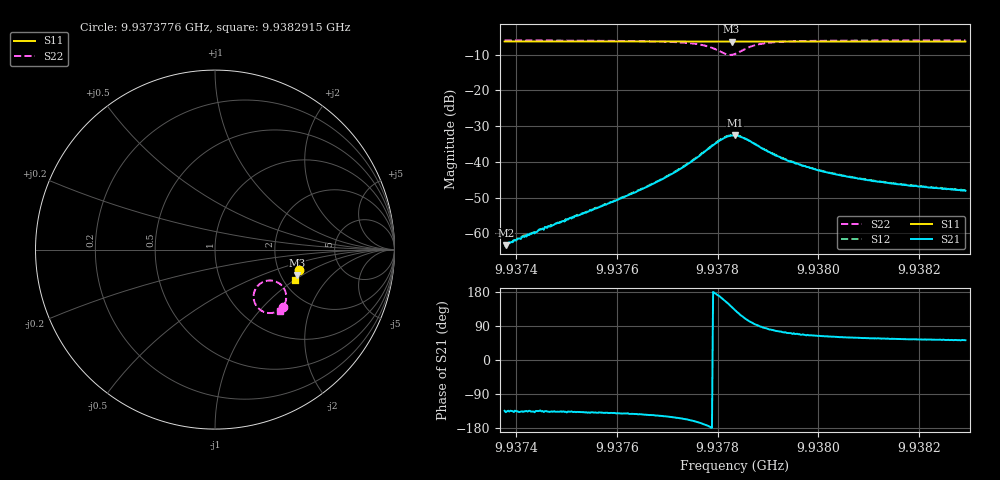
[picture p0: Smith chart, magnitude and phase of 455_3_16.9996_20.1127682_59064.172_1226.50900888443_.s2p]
#  HZ  S  RI  R  50.00
! Rohde & Schwarz Vector Network Analyzer
! Rohde-Schwarz,ZNB20-2Port,1311601062101988,3.16
! Created: UTC 3/20/2024, 11:12:26 PM
! freq[Hz]  re:S11  im:S11  re:S21  im:S21  re:S12  im:S12  re:S22  im:S22
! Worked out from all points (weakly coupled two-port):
!   401 points, 9.9373776 GHz to 9.9382915 GHz, reference 50 ohm
!   highest |S21| = -32.59 dB at 9.9378345 GHz (marker M1); lowest = -63.2 dB at 9.9373799 GHz (marker M2)
!   lowest |S11| = -6.4 dB at 9.9378277 GHz (marker M3), VSWR 2.84, Z = 122 - j45 ohm
!   |S11| at or under -10 dB: nowhere
!   |S22| runs from -10.1 to -6.1 dB; largest |S21 - S12| = 0.00093
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9.9373776e9  0.4697 -0.1136  -0.000498 -0.000514  -0.000507 -0.000455  0.3791 -0.3218
9.93737988e9  0.4697 -0.1137  -0.000509 -0.000464  -0.000481 -0.000459  0.379 -0.3221
9.93741644e9  0.4688 -0.1161  -0.000637 -0.000624  -0.000667 -0.000669  0.3757 -0.3248
9.93743243e9  0.4686 -0.1173  -0.000727 -0.000697  -0.000736 -0.000698  0.3745 -0.3261
9.93744385e9  0.4682 -0.1181  -0.000772 -0.000774  -0.000804 -0.000755  0.3735 -0.327
9.93753067e9  0.4662 -0.1238  -0.00138 -0.00127  -0.00144 -0.00125  0.3637 -0.3344
9.93763348e9  0.464 -0.1307  -0.00291 -0.00224  -0.003 -0.00227  0.3454 -0.345
9.93768375e9  0.4627 -0.134  -0.00456 -0.00295  -0.00464 -0.00291  0.329 -0.3506
9.93772944e9  0.4613 -0.1374  -0.00746 -0.00358  -0.00764 -0.00352  0.303 -0.3536
9.93777513e9  0.4594 -0.1402  -0.0138 -0.0022  -0.0141 -0.00209  0.2525 -0.3364
9.93779341e9  0.4584 -0.1411  -0.0176 0.000875  -0.018 0.00128  0.2265 -0.3067
9.93780941e9  0.4576 -0.1416  -0.0198 0.00654  -0.0202 0.00711  0.2152 -0.2595
9.93782768e9  0.4571 -0.1417  -0.0181 0.015  -0.0178 0.0156  0.2435 -0.1967
9.93783454e9  0.4572 -0.1419  -0.0156 0.0175  -0.0153 0.0181  0.2661 -0.1812
9.93784596e9  0.4575 -0.1421  -0.0105 0.0198  -0.0103 0.0202  0.3075 -0.1719
9.93786195e9  0.4578 -0.143  -0.00443 0.0193  -0.00399 0.0195  0.3539 -0.1855
9.93788937e9  0.4579 -0.1453  0.0011 0.0153  0.00145 0.0153  0.3891 -0.2259
9.93793963e9  0.4572 -0.149  0.00336 0.00981  0.00356 0.01  0.3967 -0.2735
9.93798761e9  0.4559 -0.1523  0.00342 0.00732  0.00364 0.0073  0.3913 -0.2961
9.93805615e9  0.4542 -0.157  0.00316 0.00537  0.00326 0.0054  0.3829 -0.3134
9.93814069e9  0.452 -0.1626  0.00282 0.00417  0.00296 0.00418  0.3744 -0.3264
9.93829148e9  0.4477 -0.1721  0.00242 0.00313  0.00253 0.00314  0.3622 -0.3406
